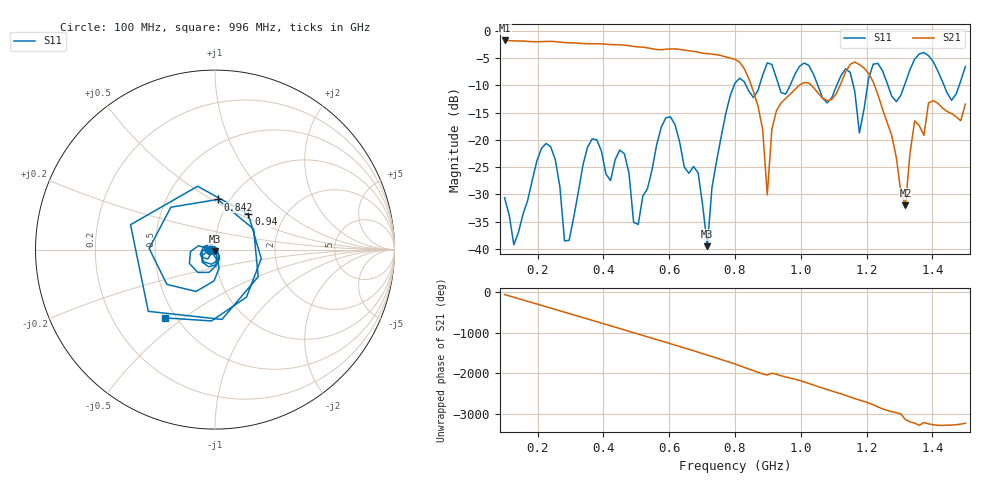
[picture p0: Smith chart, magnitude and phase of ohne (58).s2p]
! NanoVNA-App
! Date: 2025-09-26 09:55:51
! Start: 100MHz Stop: 1,5GHz Points: 101
! S-Parameter data: F S11 S21 S12 S22
# Hz S RI R 50
!  Frequency  S11_Real  S11_Imag  S21_Real  S21_Imag  S12_Real  S12_Imag  S22_Real  S22_Imag
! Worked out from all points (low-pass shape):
!   101 points, 100 MHz to 1.5 GHz, reference 50 ohm
!   highest |S21| = -1.79 dB at 100 MHz (marker M1); lowest = -32.0 dB at 1.318 GHz (marker M2)
!   |S21| within 3 dB of the highest: start of sweep to 771.1 MHz
!   lowest |S11| = -39.5 dB at 716 MHz (marker M3), VSWR 1.02, Z = 49.9 - j1.05 ohm
!   |S11| at or under -10 dB: start of sweep to 797.5 MHz; 833.3 MHz to 874.7 MHz (41.34 MHz wide, 4.84 % of centre); 1.052 GHz to 1.109 GHz (57.52 MHz wide, 5.32 % of centre) (the widest 3 of 7)
!   S12 and S22 are empty: the file has one direction only
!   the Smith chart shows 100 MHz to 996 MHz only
!   S11 on the Smith chart (normalised r, x): 100 MHz: 0.94, -0.01; 842 MHz: 0.88, +0.53; 940 MHz: 1.32, +0.56; 996 MHz: 0.44, -0.43
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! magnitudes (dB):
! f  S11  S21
! 100 MHz  -30.6  -1.8
! 128 MHz  -39.3  -1.9
! 226 MHz  -20.7  -2.0
! 296 MHz  -38.4  -2.2
! 338 MHz  -24.6  -2.3
! 464 MHz  -22.6  -2.6
! 506 MHz  -35.5  -3.0
! 576 MHz  -17.7  -3.5
! 688 MHz  -26.1  -3.9
! 716 MHz  -39.5  -4.2
! 800 MHz  -9.6  -5.3
! 842 MHz  -11.1  -8.8
! 898 MHz  -5.9  -30.1
! 940 MHz  -11.4  -13.3
! 996 MHz  -6.5  -10.0
! 1.038 GHz  -7.9  -10.4
! 1.178 GHz  -18.8  -6.2
! 1.22 GHz  -6.1  -9.4
! 1.276 GHz  -12.0  -19.2
! 1.318 GHz  -9.5  -32.0
! 1.346 GHz  -5.2  -16.5
! 1.5 GHz  -6.6  -13.5
